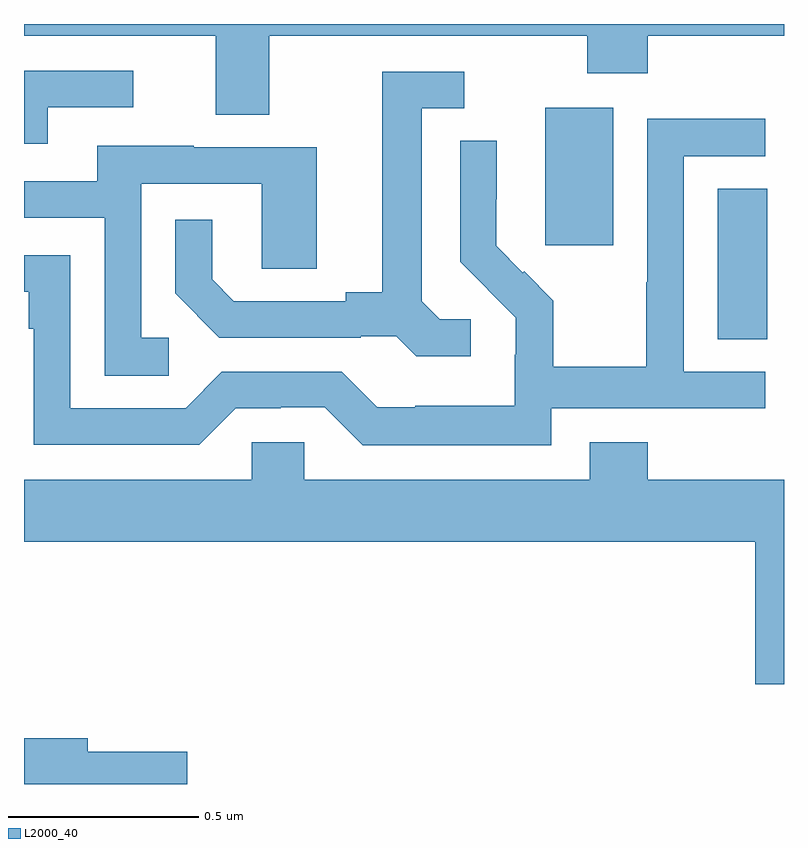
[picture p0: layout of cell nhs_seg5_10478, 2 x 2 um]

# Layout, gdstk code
import gdstk
lib = gdstk.Library(unit=1e-6, precision=1e-09)
def R(c, l, rs):  # rectangles x0, y0, x1, y1
    for r in rs: c.add(gdstk.rectangle(r[:2], r[2:], *l))
def P(c, l, *ps):  # polygons
    for p in ps: c.add(gdstk.Polygon(p, *l))
L2000_40 = (2000, 40)

nhs_seg5_10478 = lib.new_cell('nhs_seg5_10478')
R(nhs_seg5_10478, L2000_40, [(248.825,847.969,248.956,848.366), (248.372,848.217,248.551,848.578)])
P(nhs_seg5_10478, L2000_40, [(247.645,848.768),(248.482,848.768),(248.482,848.669),(248.642,848.669),(248.642,848.768),(249,848.768),(249,848.799),(247,848.799),(247,848.768),(247.505,848.768),(247.505,848.56),(247.645,848.56)],
  [(247.063,848.58),(247.288,848.58),(247.288,848.676),(247,848.676),(247,848.484),(247.063,848.484)],
  [(248.176,848.022),(248.094,848.022),(248.047,848.069),(248.047,848.577),(248.158,848.577),(248.158,848.673),(247.943,848.673),(247.943,848.093),(247.847,848.093),(247.847,848.07),(247.552,848.07),(247.495,848.127),(247.495,848.284),(247.398,848.284),(247.398,848.09),(247.514,847.974),(247.886,847.974),(247.886,847.977),(247.98,847.977),(248.032,847.925),(248.176,847.925)],
  [(248.388,847.788),(248.95,847.788),(248.95,847.884),(248.736,847.884),(248.736,848.451),(248.95,848.451),(248.95,848.55),(248.64,848.55),(248.64,848.12),(248.638,848.12),(248.638,847.897),(248.393,847.897),(248.393,848.071),(248.316,848.148),(248.313,848.145),(248.243,848.216),(248.243,848.338),(248.244,848.338),(248.244,848.492),(248.148,848.492),(248.148,848.174),(248.221,848.101),(248.22,848.1),(248.294,848.026),(248.294,847.929),(248.292,847.929),(248.292,847.795),(248.029,847.795),(248.029,847.791),(247.929,847.791),(247.836,847.884),(247.521,847.884),(247.425,847.788),(247.122,847.788),(247.122,848.19),(247,848.19),(247,848.094),(247.013,848.094),(247.013,847.997),(247.026,847.997),(247.026,847.692),(247.461,847.692),(247.557,847.788),(247.676,847.788),(247.676,847.791),(247.791,847.791),(247.891,847.691),(248.388,847.691)],
  [(247.381,847.974),(247.308,847.974),(247.308,848.379),(247.626,848.379),(247.626,848.155),(247.771,848.155),(247.771,848.475),(247.447,848.475),(247.447,848.479),(247.193,848.479),(247.193,848.385),(247,848.385),(247,848.289),(247.212,848.289),(247.212,847.873),(247.381,847.873)],
  [(249,847.6),(248.642,847.6),(248.642,847.699),(248.489,847.699),(248.489,847.6),(247.737,847.6),(247.737,847.698),(247.599,847.698),(247.599,847.6),(247,847.6),(247,847.436),(248.924,847.436),(248.924,847.062),(249,847.062)],
  [(247.429,846.884),(247.168,846.884),(247.168,846.92),(247,846.92),(247,846.799),(247.429,846.799)])

lib.write_gds('nhs_seg5_10478.gds')
